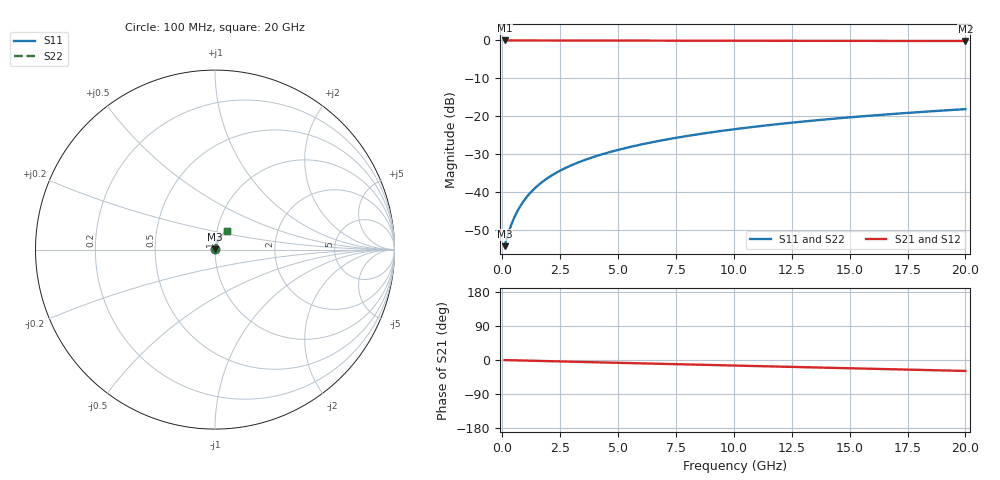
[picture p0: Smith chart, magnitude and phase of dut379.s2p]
! Touchstone file exported from HFSS 2026.1.0
!  File:  C:/ffzhzh/LocalFiles/Ansys_Project_Files/temp_train_TMRDL_379_1783004522_4048.aedt
!  Generated:  11:03:17 PM Jul  2, 2026
!  Design:  TMRDL
!  Project:  temp_train_TMRDL_379_1783004522_4048
! Variables:
!  h_bsmrdl = 2um
!  h_ox = 20um
!  h_rdl = 5um
!  h_sub = 80um
!  h_tmrdl = 5.55um
!  h_tsv = 80um
!  h_via = 3um
!  l_bsmrdl = 300um
!  l_sub = 891.69um
!  l_tmrdl = 491.69um
!  m_sub = 200um
!  pitch = 32.45um
!  r_tsv = 6um
!  s_tmrdl = 10um
!  w_bsmrdl = 18um
!  w_sub = 500um
!  w_tmrdl = 22.09um
!  x_tsv_center1 = 502.735um
!  x_tsv_center2 = 820.735um
!  x_tsv_center3 = 1334.515um
!  x_tsv_center4 = 1652.515um
!  x_tsv_center5 = 2166.295um
!  x_tsv_center6 = 2484.295um
# GHz S MA R 50.000000
! Terminal data exported
! Port[1] = TM_RDL1_1_T1
! Port[2] = TM_RDL1_1_T2
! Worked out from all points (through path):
!   200 points, 100 MHz to 20 GHz, reference 50 ohm
!   highest |S21| = -0.01 dB at 100 MHz (marker M1); lowest = -0.2 dB at 20 GHz (marker M2)
!   group delay of S21, straight-line fit = 4 ps
!   lowest |S11| = -54.4 dB at 100 MHz (marker M3), VSWR 1.00, Z = 50.2 + j0.101 ohm
!   |S11| at or under -10 dB: start of sweep to end of sweep
!   |S22| runs from -54.4 to -18.2 dB; largest |S21 - S12| = 2.1e-15
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0.1  0.001915 31.6  0.9984 -0.2  0.9984 -0.2  0.001915 31.6
! Gamma 0 0 0 0
! Port Impedance 50 0 50 0
0.2  0.002493 44.4  0.9982 -0.3  0.9982 -0.3  0.0025 44.4
0.3  0.003097 53.3  0.998 -0.5  0.998 -0.5  0.003106 53.2
0.4  0.003755 59.4  0.9979 -0.6  0.9979 -0.6  0.003761 59.3
0.6  0.005167 66.9  0.9978 -0.9  0.9978 -0.9  0.00517 66.8
0.7  0.0059 69.1  0.9977 -1.1  0.9977 -1.1  0.005901 69.0
0.9  0.007387 72.1  0.9976 -1.4  0.9976 -1.4  0.007385 72.0
1.2  0.009632 74.5  0.9974 -1.8  0.9974 -1.8  0.009628 74.4
1.4  0.01112 75.3  0.9973 -2.1  0.9973 -2.1  0.01112 75.3
1.7  0.01333 76.0  0.9971 -2.6  0.9971 -2.6  0.01333 76.0
2.2  0.01695 76.3  0.9967 -3.3  0.9967 -3.3  0.01694 76.3
2.8  0.02116 76.1  0.9962 -4.2  0.9962 -4.2  0.02116 76.1
3.5  0.02593 75.6  0.9956 -5.2  0.9956 -5.2  0.02593 75.6
4.2  0.03059 75.0  0.9949 -6.3  0.9949 -6.3  0.03059 75.0
5  0.03581 74.3  0.9942 -7.4  0.9942 -7.4  0.03581 74.3
5.9  0.04159 73.4  0.9934 -8.7  0.9934 -8.7  0.04159 73.4
6.8  0.04728 72.4  0.9927 -10.0  0.9927 -10.0  0.04728 72.4
8.3  0.05662 70.8  0.9915 -12.2  0.9915 -12.2  0.05662 70.8
10.1  0.0676 68.7  0.99 -14.8  0.99 -14.8  0.06761 68.7
13.4  0.08715 64.7  0.9873 -19.5  0.9873 -19.5  0.08716 64.7
16.7  0.1059 60.5  0.9845 -24.2  0.9845 -24.2  0.1059 60.5
20  0.1237 56.3  0.9816 -28.9  0.9816 -28.9  0.1237 56.2
